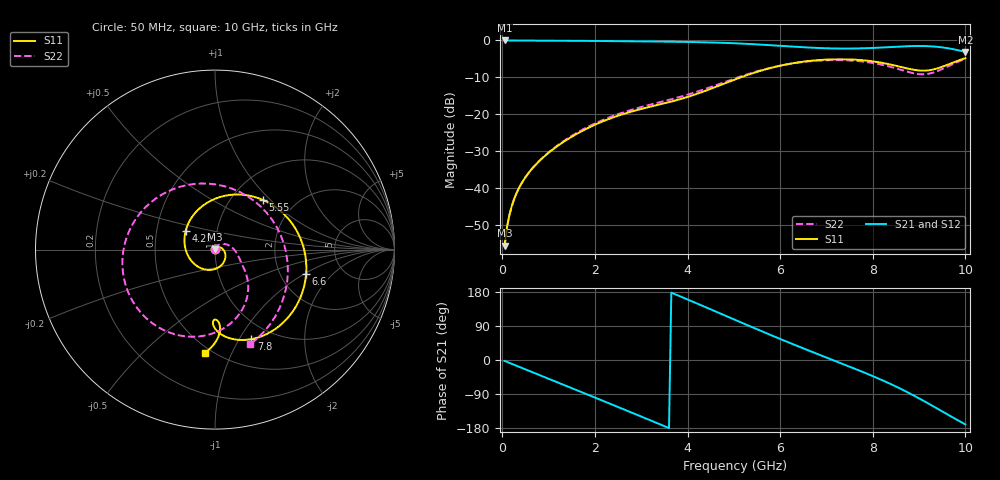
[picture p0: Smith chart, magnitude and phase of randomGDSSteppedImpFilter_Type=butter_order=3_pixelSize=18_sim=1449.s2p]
! freq	dB(S11)	phase(S11)	dB(S12)	phase(S12)
!  dB(S21)	phase(S21)	dB(S22)	phase(S22)
!S-par simulation data
#  GHz  S  DB  R 50
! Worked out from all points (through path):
!   200 points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, 50 MHz to 10 GHz, reference 50 ohm
!   highest |S21| = 0.00 dB at 50 MHz (marker M1); lowest = -3.1 dB at 10 GHz (marker M2)
!   group delay of S21, straight-line fit = 144 ps
!   lowest |S11| = -55.6 dB at 50 MHz (marker M3), VSWR 1.00, Z = 50.1 + j0.155 ohm
!   |S11| at or under -10 dB: start of sweep to 5.147 GHz
!   |S22| runs from -55.7 to -5.0 dB; largest |S21 - S12| = 0
!   S11 on the Smith chart (normalised r, x): 50 MHz: 1.00, +0.00; 4.25 GHz: 0.71, +0.15; 5.55 GHz: 1.38, +0.90; 6.6 GHz: 2.78, -1.04; 7.8 GHz: 0.80, -1.13; 10 GHz: 0.46, -0.80
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0.05  -55.59 68.6  -0.00 -2.5  -0.00 -2.5  -55.69 69.7
0.1  -50.67 72.1  -0.01 -5.0  -0.01 -5.0  -50.76 75.3
0.2  -45.02 71.2  -0.02 -10.0  -0.02 -10.0  -45.09 77.7
0.5  -37.03 56.0  -0.04 -24.8  -0.04 -24.8  -37.03 72.2
1.15  -28.96 16.2  -0.07 -56.9  -0.07 -56.9  -28.80 51.5
1.75  -24.33 -21.2  -0.12 -86.7  -0.12 -86.7  -24.03 30.0
2.5  -20.38 -70.3  -0.19 -124.1  -0.19 -124.1  -19.95 4.0
3.4  -17.33 -138.1  -0.30 -169.5  -0.30 -169.5  -16.72 -20.3
3.8  -16.04 -172.4  -0.37 170.1  -0.37 170.1  -15.40 -27.9
4.25  -14.26 147.7  -0.46 146.8  -0.46 146.8  -13.68 -35.7
5.05  -10.45 81.7  -0.78 104.7  -0.78 104.7  -10.16 -54.2
5.55  -8.32 46.3  -1.10 78.6  -1.10 78.6  -8.19 -70.7
6.1  -6.58 12.2  -1.54 50.5  -1.54 50.5  -6.58 -92.0
6.6  -5.59 -14.9  -1.91 25.8  -1.91 25.8  -5.69 -113.5
6.7  -5.46 -20.0  -1.97 20.9  -1.97 20.9  -5.58 -118.1
7.25  -5.09 -45.6  -2.19 -5.4  -2.19 -5.4  -5.32 -144.5
7.8  -5.38 -67.9  -2.13 -32.3  -2.13 -32.3  -5.74 -175.3
8.35  -6.43 -85.2  -1.81 -61.4  -1.81 -61.4  -7.04 144.1
8.9  -7.97 -91.4  -1.51 -94.7  -1.51 -94.7  -8.95 81.7
9.4  -7.54 -86.4  -1.74 -128.7  -1.74 -128.7  -8.27 4.5
9.7  -6.15 -88.2  -2.28 -149.7  -2.28 -149.7  -6.56 -36.4
10  -4.79 -95.5  -3.11 -170.0  -3.11 -170.0  -5.00 -69.6
